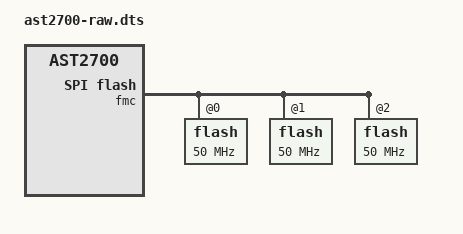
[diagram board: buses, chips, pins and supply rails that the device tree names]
// SPDX-License-Identifier: GPL-2.0+

/dts-v1/;

#include "ast2700-evb.dts"

#if PCIE2_RC
&pcie2 {
	status = "disabled";
};
#else
&mdio2 {
	status = "disabled";
};

&sgmii {
	status = "disabled";
};

&mac2 {
	status = "disabled";
};
#endif

&fmc {
	status = "okay";
	pinctrl-names = "default";
	pinctrl-0 = <&pinctrl_fwspi_quad_default>;

	flash@0 {
		status = "okay";
		spi-max-frequency = <50000000>;
		spi-tx-bus-width = <2>;
		spi-rx-bus-width = <2>;
	};

	flash@1 {
		status = "okay";
		spi-max-frequency = <50000000>;
		spi-tx-bus-width = <2>;
		spi-rx-bus-width = <2>;
	};

	flash@2 {
		status = "okay";
		spi-max-frequency = <50000000>;
		spi-tx-bus-width = <2>;
		spi-rx-bus-width = <2>;
	};
};

&spi2 {
	status = "disabled";
};

&emmc_controller {
	status = "disabled";
};

&emmc {
	status = "disabled";
};

&sdc {
	status = "disabled";
};

&sdhci {
	status = "disabled";
};

&ufs {
	status = "disabled";
};

&display_port {
	status = "disabled";
};

&vbios {
	status = "disabled";
};

&vga {
	status = "disabled";
};
